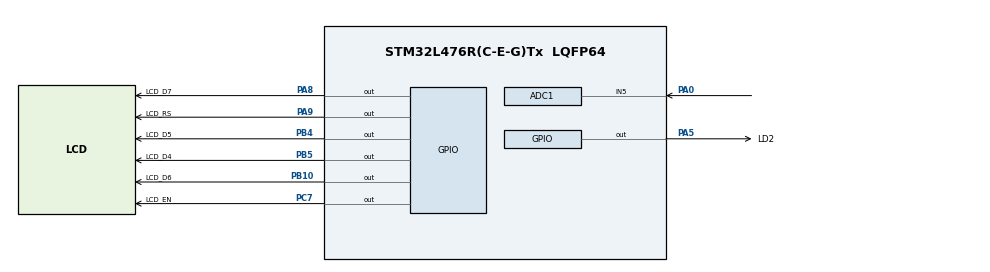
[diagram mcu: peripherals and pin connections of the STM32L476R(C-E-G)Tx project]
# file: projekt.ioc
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ADC1.Channel-0\#ChannelRegularConversion=ADC_CHANNEL_5
ADC1.NbrOfConversionFlag=1
ADC1.OffsetNumber-0\#ChannelRegularConversion=ADC_OFFSET_NONE
ADC1.Rank-0\#ChannelRegularConversion=1
ADC1.SamplingTime-0\#ChannelRegularConversion=ADC_SAMPLETIME_2CYCLES_5
ADC1.master=1
Mcu.Family=STM32L4
Mcu.Name=STM32L476R(C-E-G)Tx
Mcu.Package=LQFP64
NVIC.PriorityGroup=NVIC_PRIORITYGROUP_4
PA0.Signal=ADCx_IN5
PA5.GPIO_Label=LD2
PA5.Signal=GPIO_Output
PA8.GPIO_Label=LCD_D7
PA8.Signal=GPIO_Output
PA9.GPIO_Label=LCD_RS
PA9.Signal=GPIO_Output
PB10.GPIO_Label=LCD_D6
PB10.Signal=GPIO_Output
PB4\ (NJTRST).GPIO_Label=LCD_D5
PB4\ (NJTRST).Signal=GPIO_Output
PB5.GPIO_Label=LCD_D4
PB5.Signal=GPIO_Output
PC7.GPIO_Label=LCD_EN
PC7.Signal=GPIO_Output
ProjectManager.HeapSize=0x200
ProjectManager.StackSize=0x400
ProjectManager.TargetToolchain=STM32CubeIDE
RCC.ADCFreq_Value=32000000
RCC.HSE_VALUE=8000000
RCC.HSI_VALUE=16000000
RCC.LSE_VALUE=32768
RCC.MSI_VALUE=4000000
RCC.PLLSAI1N=16
RCC.USBFreq_Value=32000000
RCC.VCOOutputFreq_Value=32000000
SH.ADCx_IN5.0=ADC1_IN5,IN5-Single-Ended
board=custom

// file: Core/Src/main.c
/* USER CODE BEGIN Header */
/**
  ******************************************************************************
  * @file           : main.c
  * @brief          : Main program body
  ******************************************************************************
  * @attention
  *
  * Copyright (c) 2024 STMicroelectronics.
  * All rights reserved.
  *
  * This software is licensed under terms that can be found in the LICENSE file
  * in the root directory of this software component.
  * If no LICENSE file comes with this software, it is provided AS-IS.
  *
  ******************************************************************************
  */
/* USER CODE END Header */
#include "main.h"

/* USER CODE BEGIN Includes */

#include "lcd.h"
#include "stdlib.h"
#include "stdbool.h"
#include <time.h>

/* USER CODE END Includes */

ADC_HandleTypeDef hadc1;

void SystemClock_Config(void);
static void MX_GPIO_Init(void);
static void MX_ADC1_Init(void);

/* USER CODE BEGIN 0 */

// ustawienie maksymalnego zakresu losowanej liczby
int MAX_DOLNA_GRANICA = -1000;
int MAX_GORNA_GRANICA = 1000;

// tablica z iloscia gier
int tablica[] = {0, 0, 0};

char *przycisk();
int ustaw_dolna_granice();
int ustaw_gorna_granice();
void zgaduj(int dolny_zakres, int gorny_zakres, int wylosowana_liczba, int id_gracza);
int losuj_liczbe(int dolna_granica, int gorna_granica);
int wybierz_id();
int liczba_cyfr(int liczba);
void dodajZnak(char tablica[], char znak);
void wypisz_tabele();

void wypisz_tabele()
{
	char pierwsza[20] = "id: ";

	dodajZnak(pierwsza, '1');
	int l_cyfr = liczba_cyfr(tablica[0]);
	for(int i=0; i<l_cyfr; i++)
	{
		dodajZnak(pierwsza, ' ');
	}

	dodajZnak(pierwsza, '|');
	dodajZnak(pierwsza, ' ');
	dodajZnak(pierwsza, '2');
	l_cyfr = liczba_cyfr(tablica[1]);
	for(int i=0; i<l_cyfr; i++)
	{
		dodajZnak(pierwsza, ' ');
	}

	dodajZnak(pierwsza, '|');
	dodajZnak(pierwsza, ' ');
	dodajZnak(pierwsza, '3');

	char buff[20];

	lcd_clear();
	lcd_print(1, 1, pierwsza);
	sprintf(buff, "    %d | %d | %d", tablica[0], tablica[1], tablica[2]);
	lcd_print(2, 1, buff);

	while(1)
	{
		if(strcmp(przycisk(), "SELECT")==0)
		{
			break;
		}
		HAL_Delay(300);
	}
}

// dodanie znaku do tablicy znakow
void dodajZnak(char tablica[], char znak)
{
    int i = 0;

    while (tablica[i] != '\0')
    {
        i++;
    }

    tablica[i] = znak;
    tablica[i + 1] = '\0';
}

// funkcja zwraca ilosc cyfr w liczbie
int liczba_cyfr(int liczba)
{
	int liczba_cyfr = 0;

	if(liczba<10)
	{
		return 1;
	}

	while (liczba != 0)
	{
		liczba /= 10;
	    liczba_cyfr++;
	}

	return liczba_cyfr;
}

int wybierz_id()
{
	int id=1;
	char buff[10];

	lcd_clear();
	lcd_print(1, 1, "Wybierz ID: 1-3");
	lcd_print(2, 1, "ID = 1");

	while(1)
	{
		if(strcmp(przycisk(), "RIGHT")==0)
		{
			id++;
			if(id > 3)
			{
				id = 3;
			}
			sprintf(buff, "ID = %d", id);
			lcd_clear();
			lcd_print(1, 1, "Wybierz ID: 1-3");
			lcd_print(2, 1, buff);
		}
		else if(strcmp(przycisk(), "LEFT")==0)
		{
			id--;
			if(id < 1)
			{
				id = 1;
			}
			sprintf(buff, "ID = %d", id);
			lcd_clear();
			lcd_print(1, 1, "Wybierz ID: 1-3");
			lcd_print(2, 1, buff);
		}
		else if(strcmp(przycisk(), "SELECT")==0)
		{
			break;
		}
		HAL_Delay(300);
	}

	return id;
}

// funckaj odpowiadajaca za rozgrywke - wprowadzanie liczby przez uzytkownika,
// wyswietlanie podpowiedni na ekranie oraz informacji o wygranej
void zgaduj(int dolny_zakres, int gorny_zakres, int wylosowana_liczba, int id_gracza)
{
	int liczba_prob = 0;
	int typowana_liczba = 0;

	char buff[20];
	sprintf(buff, "%d", typowana_liczba);

	lcd_clear();
	lcd_print(1, 1, "Twoja liczba:");
	lcd_print(2, 1, buff);

	while(1)
	{
		if(strcmp(przycisk(), "RIGHT")==0)
		{
			typowana_liczba++;
			if(typowana_liczba > gorny_zakres)
			{
				typowana_liczba = gorny_zakres;
			}
			sprintf(buff, "%d", typowana_liczba);
			lcd_clear();
			lcd_print(1, 1, "Twoja liczba:");
			lcd_print(2, 1, buff);
		}
		else if(strcmp(przycisk(), "UP")==0)
		{
			typowana_liczba += 10;
			if(typowana_liczba > gorny_zakres)
			{
				typowana_liczba = gorny_zakres;
			}
			sprintf(buff, "%d", typowana_liczba);
			lcd_clear();
			lcd_print(1, 1, "Twoja liczba:");
			lcd_print(2, 1, buff);
		}
		else if(strcmp(przycisk(), "LEFT")==0)
		{
			typowana_liczba--;
			if(typowana_liczba < dolny_zakres)
			{
				typowana_liczba = dolny_zakres;
			}
			sprintf(buff, "%d", typowana_liczba);
			lcd_clear();
			lcd_print(1, 1, "Twoja liczba:");
			lcd_print(2, 1, buff);
		}
		else if(strcmp(przycisk(), "DOWN")==0)
		{
			typowana_liczba -= 10;
			if(typowana_liczba < dolny_zakres)
			{
				typowana_liczba = dolny_zakres;
			}
			sprintf(buff, "%d", typowana_liczba);
			lcd_clear();
			lcd_print(1, 1, "Twoja liczba:");
			lcd_print(2, 1, buff);
		}
		else if(strcmp(przycisk(), "SELECT")==0)
		{
			liczba_prob++;

			if(typowana_liczba == wylosowana_liczba)
			{
				tablica[id_gracza-1]++;
				sprintf(buff, "Liczba prob: %d", liczba_prob);
				lcd_clear();
				lcd_print(1, 1, "Udalo sie!");
				lcd_print(2, 1, buff);

				for(int i=0; i<50; i++)
				{
					HAL_GPIO_TogglePin(LD2_GPIO_Port, LD2_Pin);
					HAL_Delay(75);
				}
				HAL_GPIO_WritePin(LD2_GPIO_Port, LD2_Pin, GPIO_PIN_RESET);

				break;
			}
			else if(wylosowana_liczba < typowana_liczba)
			{
				lcd_clear();
				lcd_print(1, 1, "Wyloswana liczba");
				lcd_print(2, 1, "jest mniejsza");
				HAL_Delay(2500);

				typowana_liczba = 0;
				sprintf(buff, "%d", typowana_liczba);
				lcd_clear();
				lcd_print(1, 1, "Twoja liczba:");
				lcd_print(2, 1, buff);
			}
			else if(wylosowana_liczba > typowana_liczba)
			{
				lcd_clear();
				lcd_print(1, 1, "Wyloswana liczba");
				lcd_print(2, 1, "jest wieksza");
				HAL_Delay(2500);

				typowana_liczba = 0;
				sprintf(buff, "%d", typowana_liczba);
				lcd_clear();
				lcd_print(1, 1, "Twoja liczba:");
				lcd_print(2, 1, buff);
			}
		}
		HAL_Delay(300);
	}
}

// funkcja losujaca liczbe z zakresu
int losuj_liczbe(int dolna_granica, int gorna_granica)
{
	return rand() % (gorna_granica - dolna_granica + 1) + dolna_granica;
}

// funkcja prosi o podanie gornej granicy zakresu
int ustaw_gorna_granice()
{
	int gorna_granica = 0;

	char buff[10];
	sprintf(buff, "%d", gorna_granica);

	lcd_clear();
	lcd_print(1, 1, "Gorna granica:");
	lcd_print(2, 1, buff);

	while(1)
	{
		if(strcmp(przycisk(), "RIGHT")==0)
		{
			gorna_granica++;
			if(gorna_granica > MAX_GORNA_GRANICA)
			{
				gorna_granica = MAX_GORNA_GRANICA;
			}
			sprintf(buff, "%d", gorna_granica);
			lcd_clear();
			lcd_print(1, 1, "Gorna granica:");
			lcd_print(2, 1, buff);
		}
		else if(strcmp(przycisk(), "UP")==0)
		{
			gorna_granica += 10;
			if(gorna_granica > MAX_GORNA_GRANICA)
			{
				gorna_granica = MAX_GORNA_GRANICA;
			}
			sprintf(buff, "%d", gorna_granica);
			lcd_clear();
			lcd_print(1, 1, "Gorna granica:");
			lcd_print(2, 1, buff);
		}
		else if(strcmp(przycisk(), "LEFT")==0)
		{
			gorna_granica--;
			if(gorna_granica < MAX_DOLNA_GRANICA)
			{
				gorna_granica = MAX_DOLNA_GRANICA;
			}
			sprintf(buff, "%d", gorna_granica);
			lcd_clear();
			lcd_print(1, 1, "Gorna granica:");
			lcd_print(2, 1, buff);
		}
		else if(strcmp(przycisk(), "DOWN")==0)
		{
			gorna_granica -= 10;
			if(gorna_granica < MAX_DOLNA_GRANICA)
			{
				gorna_granica = MAX_DOLNA_GRANICA;
			}
			sprintf(buff, "%d", gorna_granica);
			lcd_clear();
			lcd_print(1, 1, "Gorna granica:");
			lcd_print(2, 1, buff);
		}
		else if(strcmp(przycisk(), "SELECT")==0)
		{
			break;
		}
		HAL_Delay(300);
	}

	return gorna_granica;
}

// funkcja prosi o podanie dolnej granicy zakresu
int ustaw_dolna_granice()
{
	int dolna_granica = 0;

	char buff[10];
	sprintf(buff, "%d", dolna_granica);

	lcd_clear();
	lcd_print(1, 1, "Dolna granica:");
	lcd_print(2, 1, buff);

	while(1)
	{
		if(strcmp(przycisk(), "RIGHT")==0)
		{
			dolna_granica++;
			if(dolna_granica > MAX_GORNA_GRANICA)
			{
				dolna_granica = MAX_GORNA_GRANICA;
			}
			sprintf(buff, "%d", dolna_granica);
			lcd_clear();
			lcd_print(1, 1, "Dolna granica:");
			lcd_print(2, 1, buff);
		}
		else if(strcmp(przycisk(), "UP")==0)
		{
			dolna_granica += 10;
			if(dolna_granica > MAX_GORNA_GRANICA)
			{
				dolna_granica = MAX_GORNA_GRANICA;
			}
			sprintf(buff, "%d", dolna_granica);
			lcd_clear();
			lcd_print(1, 1, "Dolna granica:");
			lcd_print(2, 1, buff);
		}
		else if(strcmp(przycisk(), "LEFT")==0)
		{
			dolna_granica--;
			if(dolna_granica < MAX_DOLNA_GRANICA)
			{
				dolna_granica = MAX_DOLNA_GRANICA;
			}
			sprintf(buff, "%d", dolna_granica);
			lcd_clear();
			lcd_print(1, 1, "Dolna granica:");
			lcd_print(2, 1, buff);
		}
		else if(strcmp(przycisk(), "DOWN")==0)
		{
			dolna_granica -= 10;
			if(dolna_granica < MAX_DOLNA_GRANICA)
			{
				dolna_granica = MAX_DOLNA_GRANICA;
			}
			sprintf(buff, "%d", dolna_granica);
			lcd_clear();
			lcd_print(1, 1, "Dolna granica:");
			lcd_print(2, 1, buff);
		}
		else if(strcmp(przycisk(), "SELECT")==0)
		{
			break;
		}
		HAL_Delay(300);
	}

	return dolna_granica;
}

// funkcja zwraca nazwe nacisnietego przycisku
char *przycisk()
{
	uint32_t analogValue;

	// pomiar napiecia
	HAL_ADC_Start(&hadc1);
	HAL_ADC_PollForConversion(&hadc1, HAL_MAX_DELAY);
	analogValue = HAL_ADC_GetValue(&hadc1);

	if(analogValue<100)
	{
		  return "RIGHT";
	}
	else if(analogValue<700)
	{
		  return "UP";
	}
	else if(analogValue<1600)
	{
		  return "DOWN";
	}
	else if(analogValue<2700)
	{
		  return "LEFT";
	}
	else if(analogValue<3850)
	{
		  return "SELECT";
	}
	else
	{
		  return "NIC";
	}
}

/* USER CODE END 0 */

int main(void)
{

  /* MCU Configuration--------------------------------------------------------*/

  /* Reset of all peripherals, Initializes the Flash interface and the Systick. */
  HAL_Init();

  /* Configure the system clock */
  SystemClock_Config();

  /* Initialize all configured peripherals */
  MX_GPIO_Init();
  MX_ADC1_Init();
  /* USER CODE BEGIN 2 */

  lcd_init(_LCD_4BIT, _LCD_FONT_5x8, _LCD_2LINE);
  srand(time(NULL));

  /* USER CODE END 2 */

  /* Infinite loop */
  while (1)
  {

    /* USER CODE BEGIN 3 */

	  int id = wybierz_id();
	  HAL_Delay(500);

	  int dolna_granica = ustaw_dolna_granice();
	  HAL_Delay(500);

	  int gorna_granica = ustaw_gorna_granice();
	  HAL_Delay(500);

	  while(gorna_granica <= dolna_granica)
	  {
		  lcd_clear();
	  	  lcd_print(1, 1, "Niepoprawny");
	  	  lcd_print(2, 1, "Zakres!");
	  	  HAL_Delay(2500);
	  	  dolna_granica = ustaw_dolna_granice();
	  	  HAL_Delay(500);
	  	  gorna_granica = ustaw_gorna_granice();
	  	  HAL_Delay(500);
	  }

	  int wylosowana_liczba = losuj_liczbe(dolna_granica, gorna_granica);

	  zgaduj(dolna_granica, gorna_granica, wylosowana_liczba, id);

	  wypisz_tabele();
	  HAL_Delay(500);
  }
  /* USER CODE END 3 */
}

void SystemClock_Config(void)
{
  RCC_OscInitTypeDef RCC_OscInitStruct = {0};
  RCC_ClkInitTypeDef RCC_ClkInitStruct = {0};

  /** Configure the main internal regulator output voltage
  */
  if (HAL_PWREx_ControlVoltageScaling(PWR_REGULATOR_VOLTAGE_SCALE1) != HAL_OK)
  {
    Error_Handler();
  }

  /** Initializes the RCC Oscillators according to the specified parameters
  * in the RCC_OscInitTypeDef structure.
  */
  RCC_OscInitStruct.OscillatorType = RCC_OSCILLATORTYPE_MSI;
  RCC_OscInitStruct.MSIState = RCC_MSI_ON;
  RCC_OscInitStruct.MSICalibrationValue = 0;
  RCC_OscInitStruct.MSIClockRange = RCC_MSIRANGE_6;
  RCC_OscInitStruct.PLL.PLLState = RCC_PLL_NONE;
  if (HAL_RCC_OscConfig(&RCC_OscInitStruct) != HAL_OK)
  {
    Error_Handler();
  }

  /** Initializes the CPU, AHB and APB buses clocks
  */
  RCC_ClkInitStruct.ClockType = RCC_CLOCKTYPE_HCLK|RCC_CLOCKTYPE_SYSCLK
                              |RCC_CLOCKTYPE_PCLK1|RCC_CLOCKTYPE_PCLK2;
  RCC_ClkInitStruct.SYSCLKSource = RCC_SYSCLKSOURCE_MSI;
  RCC_ClkInitStruct.AHBCLKDivider = RCC_SYSCLK_DIV1;
  RCC_ClkInitStruct.APB1CLKDivider = RCC_HCLK_DIV1;
  RCC_ClkInitStruct.APB2CLKDivider = RCC_HCLK_DIV1;

  if (HAL_RCC_ClockConfig(&RCC_ClkInitStruct, FLASH_LATENCY_0) != HAL_OK)
  {
    Error_Handler();
  }
}

static void MX_ADC1_Init(void)
{

  ADC_MultiModeTypeDef multimode = {0};
  ADC_ChannelConfTypeDef sConfig = {0};

  /** Common config
  */
  hadc1.Instance = ADC1;
  hadc1.Init.ClockPrescaler = ADC_CLOCK_ASYNC_DIV1;
  hadc1.Init.Resolution = ADC_RESOLUTION_12B;
  hadc1.Init.DataAlign = ADC_DATAALIGN_RIGHT;
  hadc1.Init.ScanConvMode = ADC_SCAN_DISABLE;
  hadc1.Init.EOCSelection = ADC_EOC_SINGLE_CONV;
  hadc1.Init.LowPowerAutoWait = DISABLE;
  hadc1.Init.ContinuousConvMode = DISABLE;
  hadc1.Init.NbrOfConversion = 1;
  hadc1.Init.DiscontinuousConvMode = DISABLE;
  hadc1.Init.ExternalTrigConv = ADC_SOFTWARE_START;
  hadc1.Init.ExternalTrigConvEdge = ADC_EXTERNALTRIGCONVEDGE_NONE;
  hadc1.Init.DMAContinuousRequests = DISABLE;
  hadc1.Init.Overrun = ADC_OVR_DATA_PRESERVED;
  hadc1.Init.OversamplingMode = DISABLE;
  if (HAL_ADC_Init(&hadc1) != HAL_OK)
  {
    Error_Handler();
  }

  /** Configure the ADC multi-mode
  */
  multimode.Mode = ADC_MODE_INDEPENDENT;
  if (HAL_ADCEx_MultiModeConfigChannel(&hadc1, &multimode) != HAL_OK)
  {
    Error_Handler();
  }

  /** Configure Regular Channel
  */
  sConfig.Channel = ADC_CHANNEL_5;
  sConfig.Rank = ADC_REGULAR_RANK_1;
  sConfig.SamplingTime = ADC_SAMPLETIME_2CYCLES_5;
  sConfig.SingleDiff = ADC_SINGLE_ENDED;
  sConfig.OffsetNumber = ADC_OFFSET_NONE;
  sConfig.Offset = 0;
  if (HAL_ADC_ConfigChannel(&hadc1, &sConfig) != HAL_OK)
  {
    Error_Handler();
  }

}

static void MX_GPIO_Init(void)
{
  GPIO_InitTypeDef GPIO_InitStruct = {0};

  /* GPIO Ports Clock Enable */
  __HAL_RCC_GPIOA_CLK_ENABLE();
  __HAL_RCC_GPIOB_CLK_ENABLE();
  __HAL_RCC_GPIOC_CLK_ENABLE();

  /*Configure GPIO pin Output Level */
  HAL_GPIO_WritePin(GPIOA, LD2_Pin|LCD_D7_Pin|LCD_RS_Pin, GPIO_PIN_RESET);

  /*Configure GPIO pin Output Level */
  HAL_GPIO_WritePin(GPIOB, LCD_D6_Pin|LCD_D5_Pin|LCD_D4_Pin, GPIO_PIN_RESET);

  /*Configure GPIO pin Output Level */
  HAL_GPIO_WritePin(LCD_EN_GPIO_Port, LCD_EN_Pin, GPIO_PIN_RESET);

  /*Configure GPIO pins : LD2_Pin LCD_D7_Pin LCD_RS_Pin */
  GPIO_InitStruct.Pin = LD2_Pin|LCD_D7_Pin|LCD_RS_Pin;
  GPIO_InitStruct.Mode = GPIO_MODE_OUTPUT_PP;
  GPIO_InitStruct.Pull = GPIO_NOPULL;
  GPIO_InitStruct.Speed = GPIO_SPEED_FREQ_LOW;
  HAL_GPIO_Init(GPIOA, &GPIO_InitStruct);

  /*Configure GPIO pins : LCD_D6_Pin LCD_D5_Pin LCD_D4_Pin */
  GPIO_InitStruct.Pin = LCD_D6_Pin|LCD_D5_Pin|LCD_D4_Pin;
  GPIO_InitStruct.Mode = GPIO_MODE_OUTPUT_PP;
  GPIO_InitStruct.Pull = GPIO_NOPULL;
  GPIO_InitStruct.Speed = GPIO_SPEED_FREQ_LOW;
  HAL_GPIO_Init(GPIOB, &GPIO_InitStruct);

  /*Configure GPIO pin : LCD_EN_Pin */
  GPIO_InitStruct.Pin = LCD_EN_Pin;
  GPIO_InitStruct.Mode = GPIO_MODE_OUTPUT_PP;
  GPIO_InitStruct.Pull = GPIO_NOPULL;
  GPIO_InitStruct.Speed = GPIO_SPEED_FREQ_LOW;
  HAL_GPIO_Init(LCD_EN_GPIO_Port, &GPIO_InitStruct);

}

void Error_Handler(void)
{
  __disable_irq();
  while (1)
  {
  }
}
